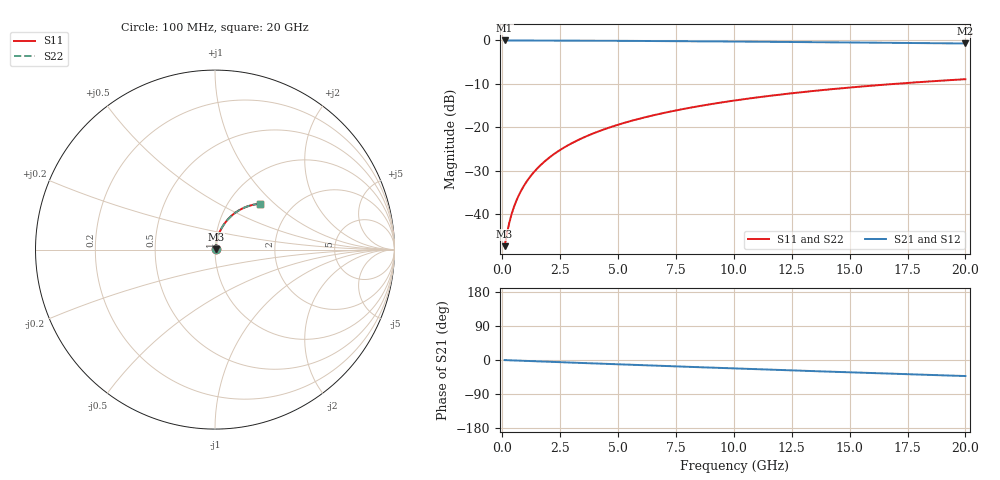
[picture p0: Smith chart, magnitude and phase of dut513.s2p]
! Touchstone file exported from HFSS 2026.1.0
!  File:  C:/ffzhzh/LocalFiles/Ansys_Project_Files/temp_train_TMRDL_513_1783006982_53980.aedt
!  Generated:  11:44:31 PM Jul  2, 2026
!  Design:  TMRDL
!  Project:  temp_train_TMRDL_513_1783006982_53980
! Variables:
!  h_bsmrdl = 2um
!  h_ox = 20um
!  h_rdl = 5um
!  h_sub = 80um
!  h_tmrdl = 4.51um
!  h_tsv = 80um
!  h_via = 3um
!  l_bsmrdl = 300um
!  l_sub = 1058.05um
!  l_tmrdl = 658.05um
!  m_sub = 200um
!  pitch = 33.51um
!  r_tsv = 6um
!  s_tmrdl = 10um
!  w_bsmrdl = 18um
!  w_sub = 500um
!  w_tmrdl = 14.84um
!  x_tsv_center1 = 665.47um
!  x_tsv_center2 = 983.47um
!  x_tsv_center3 = 1656.36um
!  x_tsv_center4 = 1974.36um
!  x_tsv_center5 = 2647.25um
!  x_tsv_center6 = 2965.25um
# GHz S MA R 50.000000
! Terminal data exported
! Port[1] = TM_RDL1_1_T1
! Port[2] = TM_RDL1_1_T2
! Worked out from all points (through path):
!   200 points, 100 MHz to 20 GHz, reference 50 ohm
!   highest |S21| = -0.03 dB at 100 MHz (marker M1); lowest = -0.7 dB at 20 GHz (marker M2)
!   group delay of S21, straight-line fit = 5.87 ps
!   lowest |S11| = -47.3 dB at 100 MHz (marker M3), VSWR 1.01, Z = 50.4 + j0.241 ohm
!   |S11| at or under -10 dB: start of sweep to 16.97 GHz
!   |S22| runs from -47.3 to -8.9 dB; largest |S21 - S12| = 3.2e-15
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0.1  0.004315 33.7  0.9964 -0.2  0.9964 -0.2  0.004315 33.7
! Gamma 0 0 0 0
! Port Impedance 50 0 50 0
0.2  0.006027 51.5  0.9963 -0.5  0.9963 -0.5  0.006027 51.5
0.3  0.007995 60.5  0.9961 -0.7  0.9961 -0.7  0.007995 60.5
0.4  0.01003 65.7  0.996 -0.9  0.996 -0.9  0.01003 65.7
0.5  0.01211 69.2  0.9959 -1.2  0.9959 -1.2  0.01211 69.2
0.6  0.0142 71.6  0.9958 -1.4  0.9958 -1.4  0.0142 71.6
0.8  0.01844 74.8  0.9956 -1.9  0.9956 -1.9  0.01844 74.8
1.1  0.02488 77.2  0.9953 -2.5  0.9953 -2.5  0.02488 77.2
1.3  0.02919 78.1  0.9951 -3.0  0.9951 -3.0  0.02919 78.1
1.6  0.03568 78.7  0.9947 -3.7  0.9947 -3.7  0.03568 78.7
2.1  0.04647 79.0  0.9939 -4.8  0.9939 -4.8  0.04647 79.0
2.7  0.05933 78.5  0.9928 -6.2  0.9928 -6.2  0.05933 78.5
3.5  0.07626 77.4  0.991 -8.0  0.991 -8.0  0.07626 77.4
4.2  0.09084 76.2  0.9892 -9.6  0.9892 -9.6  0.09084 76.2
5  0.1072 74.7  0.9868 -11.4  0.9868 -11.4  0.1072 74.7
5.9  0.1253 72.9  0.9839 -13.3  0.9839 -13.3  0.1253 72.9
6.8  0.143 71.1  0.9808 -15.3  0.9808 -15.3  0.143 71.1
8.3  0.1717 68.1  0.9752 -18.6  0.9752 -18.6  0.1717 68.1
10.1  0.2047 64.5  0.9678 -22.4  0.9678 -22.4  0.2047 64.5
13.4  0.2613 58.0  0.9527 -29.3  0.9527 -29.3  0.2613 58.0
16.7  0.3124 51.6  0.9365 -35.9  0.9365 -35.9  0.3124 51.7
20  0.3575 45.4  0.9197 -42.3  0.9197 -42.3  0.3575 45.5
